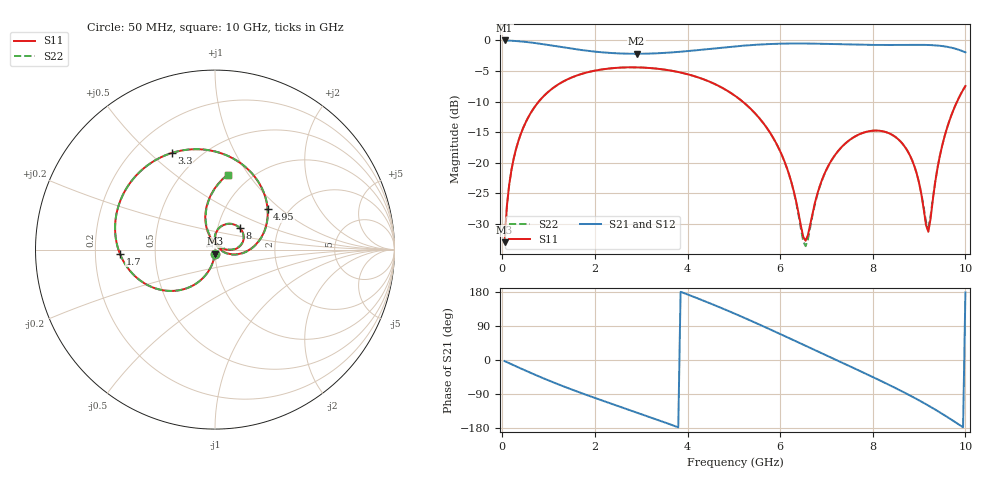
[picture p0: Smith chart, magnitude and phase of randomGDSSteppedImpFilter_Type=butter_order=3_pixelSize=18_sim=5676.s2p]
! freq	dB(S11)	phase(S11)	dB(S12)	phase(S12)
!  dB(S21)	phase(S21)	dB(S22)	phase(S22)
!S-par simulation data
#  GHz  S  DB  R 50
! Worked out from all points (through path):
!   200 points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, 50 MHz to 10 GHz, reference 50 ohm
!   highest |S21| = -0.01 dB at 50 MHz (marker M1); lowest = -2.2 dB at 2.9 GHz (marker M2)
!   group delay of S21, straight-line fit = 145 ps
!   lowest |S11| = -33.0 dB at 50 MHz (marker M3), VSWR 1.05, Z = 49.8 - j2.23 ohm
!   |S11| at or under -10 dB: start of sweep to 787.4 MHz; 5.19 GHz to 9.821 GHz (4.63 GHz wide, 61.7 % of centre)
!   |S22| runs from -33.6 to -4.4 dB; largest |S21 - S12| = 0
!   S11 on the Smith chart (normalised r, x): 50 MHz: 1.00, -0.04; 1.7 GHz: 0.31, -0.02; 3.3 GHz: 0.36, +0.59; 4.95 GHz: 1.57, +0.82; 8 GHz: 1.27, +0.32; 10 GHz: 0.79, +0.81
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0.05  -33.01 -92.9  -0.01 -2.8  -0.01 -2.8  -33.01 -92.9
0.2  -21.07 -101.8  -0.05 -11.3  -0.05 -11.3  -21.07 -101.8
0.5  -13.47 -118.4  -0.24 -27.8  -0.24 -27.8  -13.47 -118.4
1.05  -8.04 -146.9  -0.81 -56.4  -0.81 -56.4  -8.04 -147.0
1.7  -5.51 -177.5  -1.56 -87.0  -1.56 -87.0  -5.51 -177.6
1.75  -5.39 -179.8  -1.61 -89.2  -1.61 -89.2  -5.39 -179.8
2.9  -4.40 131.2  -2.19 -138.3  -2.19 -138.3  -4.41 131.1
3.3  -4.59 114.2  -2.12 -155.5  -2.12 -155.5  -4.59 114.1
3.4  -4.67 109.9  -2.08 -159.8  -2.08 -159.8  -4.67 109.8
4.2  -5.97 73.9  -1.60 163.5  -1.60 163.5  -5.97 73.7
4.95  -8.66 37.5  -1.03 126.0  -1.03 126.0  -8.66 37.2
5.05  -9.18 32.5  -0.96 120.7  -0.96 120.7  -9.18 32.2
6  -18.11 -11.9  -0.54 68.6  -0.54 68.6  -18.13 -12.9
6.55  -32.73 40.3  -0.51 37.6  -0.51 37.6  -33.62 40.6
6.7  -28.21 82.6  -0.52 29.1  -0.52 29.1  -28.51 85.5
7.2  -18.57 80.3  -0.61 0.8  -0.61 0.8  -18.60 81.5
8  -14.75 41.4  -0.74 -44.9  -0.74 -44.9  -14.76 42.2
8.35  -15.17 23.2  -0.75 -65.5  -0.75 -65.5  -15.17 24.0
8.85  -19.59 0.3  -0.72 -96.6  -0.72 -96.6  -19.56 1.6
9.2  -31.27 60.0  -0.75 -120.2  -0.75 -120.2  -30.56 60.0
9.5  -17.16 110.8  -0.92 -142.1  -0.92 -142.1  -17.12 109.9
10  -7.45 80.4  -1.95 178.5  -1.95 178.5  -7.45 80.1
